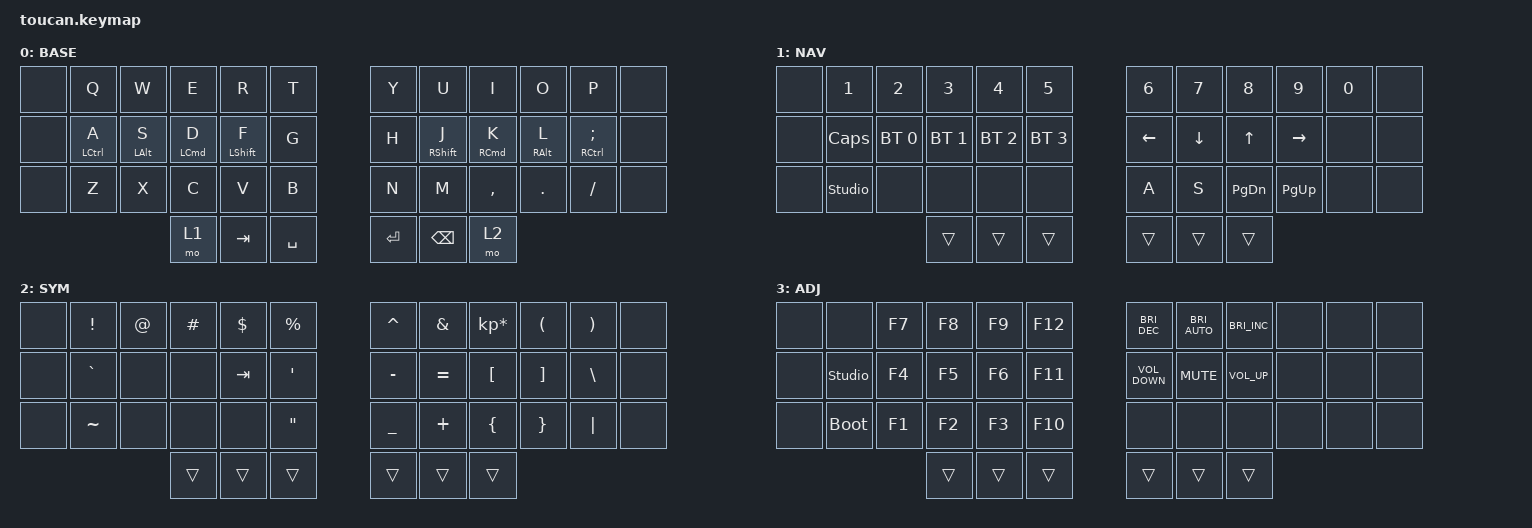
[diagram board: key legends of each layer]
#include <behaviors.dtsi>
#include <dt-bindings/zmk/bt.h>
#include <dt-bindings/zmk/keys.h>

#define BASE 0
#define NAV  1
#define SYM  2
#define ADJ  3
#define KEYS_L 0 1 2 3 4 5 12 13 14 15 16 17 24 25 26 27 28 29 36 37 38
#define KEYS_R 6 7 8 9 10 11 18 19 20 21 22 23 30 31 32 33 34 35 39 40 41

/ {
    behaviors {
        lhr: left_hand_positional_hold_tap {
            compatible = "zmk,behavior-hold-tap";
            label = "LEFT_POSITIONAL_HOLD_TAP";
            #binding-cells = <2>;
            flavor = "balanced";
            tapping-term-ms = <200>;
            bindings = <&kp>, <&kp>;

            quick-tap-ms = <175>;
            require-prior-idle-ms = <125>;
            hold-trigger-key-positions = <16 15 14 13>;
            hold-trigger-on-release;
        };

        rhr: right_hand_positional_hold_tap {
            compatible = "zmk,behavior-hold-tap";
            label = "RIGHT_POSITIONAL_HOLD_TAP";
            #binding-cells = <2>;
            flavor = "tap-preferred";
            tapping-term-ms = <200>;
            bindings = <&kp>, <&kp>;

            quick-tap-ms = <175>;
            require-prior-idle-ms = <125>;
            hold-trigger-key-positions = <19 20 21 22>;
            hold-trigger-on-release;
        };
    };

    conditional_layers {
        compatible = "zmk,conditional-layers";

        tri_layer {
            if-layers = <1 2>;
            then-layer = <3>;
        };
    };

    combos {
        compatible = "zmk,combos";

        esc_combo {
            bindings = <&kp ESCAPE>;
            key-positions = <1 2>;
        };

        sk_shift_combo {
            bindings = <&caps_word>;
            key-positions = <38 39>;
        };

        caps {
            bindings = <&kp CAPSLOCK>;
            key-positions = <12 23>;
        };
    };

    keymap {
        compatible = "zmk,keymap";

        base {
            display-name = "BASE";
            bindings = <
&none  &kp Q                &kp W            &kp E                &kp R              &kp T                 &kp Y          &kp U               &kp I                 &kp O             &kp P                    &none
&none  &lhr LEFT_CONTROL A  &lhr LEFT_ALT S  &lhr LEFT_COMMAND D  &lhr LEFT_SHIFT F  &kp G                 &kp H          &rhr RIGHT_SHIFT J  &rhr RIGHT_COMMAND K  &rhr RIGHT_ALT L  &rhr RIGHT_CONTROL SEMI  &none
&none  &kp Z                &kp X            &kp C                &kp V              &kp B                 &kp N          &kp M               &kp COMMA             &kp DOT           &kp FSLH                 &none
                                             &mo 1                &kp TAB            &kp SPACE    &kp RET  &kp BACKSPACE  &mo 2
            >;
        };

        nav {
            display-name = "NAV";
            bindings = <
&none  &kp NUMBER_1    &kp NUMBER_2  &kp NUMBER_3  &kp NUMBER_4  &kp N5                  &kp NUMBER_6  &kp N7    &kp N8         &kp N9       &kp N0  &none
&none  &kp CAPSLOCK    &bt BT_SEL 0  &bt BT_SEL 1  &bt BT_SEL 2  &bt BT_SEL 3            &kp LEFT      &kp DOWN  &kp UP_ARROW   &kp RIGHT    &none   &none
&none  &studio_unlock  &none         &none         &none         &none                   &kp A         &kp S     &kp PAGE_DOWN  &kp PAGE_UP  &none   &none
                                     &trans        &trans        &trans          &trans  &trans        &trans
            >;
        };

        sym {
            display-name = "SYM";
            bindings = <
&none  &kp EXCL   &kp AT  &kp HASH  &kp DLLR  &kp PRCNT                    &kp CARET  &kp AMPS   &kp KP_MULTIPLY  &kp LPAR  &kp RPAR  &none
&none  &kp GRAVE  &none   &none     &kp TAB   &kp SQT                      &kp MINUS  &kp EQUAL  &kp LBKT         &kp RBKT  &kp BSLH  &none
&none  &kp TILDE  &none   &none     &none     &kp DOUBLE_QUOTES            &kp UNDER  &kp PLUS   &kp LBRC         &kp RBRC  &kp PIPE  &none
                          &trans    &trans    &trans               &trans  &trans     &trans
            >;
        };

        adj {
            display-name = "ADJ";
            bindings = <
&none  &none           &kp F7  &kp F8  &kp F9  &kp F12            &kp C_BRI_DEC      &kp C_BRIGHTNESS_AUTO  &kp C_BRIGHTNESS_INC  &none  &none  &none
&none  &studio_unlock  &kp F4  &kp F5  &kp F6  &kp F11            &kp C_VOLUME_DOWN  &kp K_MUTE             &kp C_VOLUME_UP       &none  &none  &none
&none  &bootloader     &kp F1  &kp F2  &kp F3  &kp F10            &none              &none                  &none                 &none  &none  &none
                               &trans  &trans  &trans     &trans  &trans             &trans
            >;
        };
    };
};
